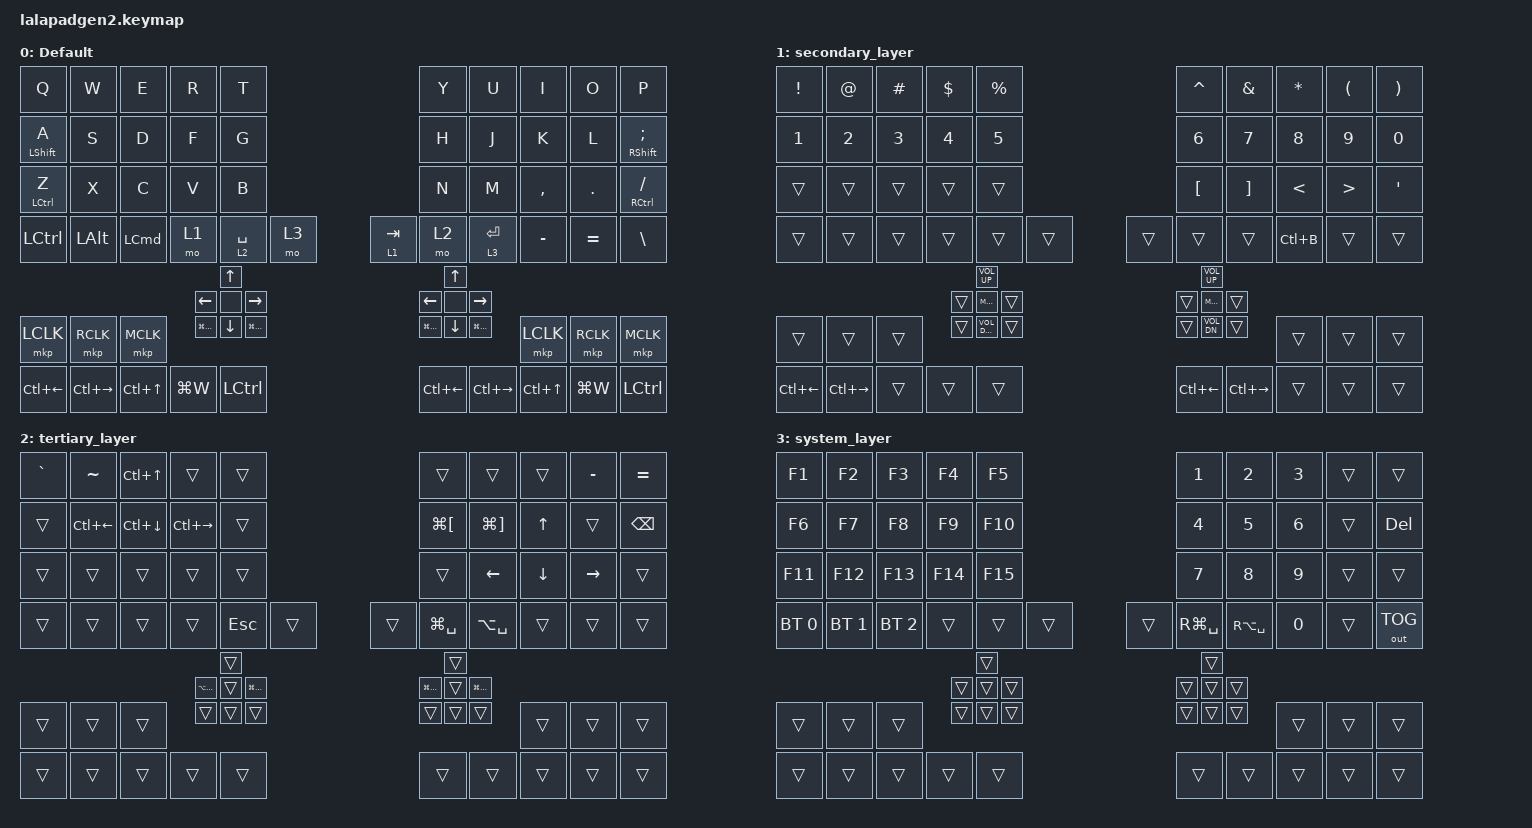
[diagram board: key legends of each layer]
#include <input/processors.dtsi>
#include <dt-bindings/zmk/zip_dynamic_scale.h>
#include <behaviors.dtsi>
#include <dt-bindings/zmk/bt.h>
#include <dt-bindings/zmk/keys.h>
#include <dt-bindings/zmk/outputs.h>
#include <dt-bindings/zmk/pointing.h>

#define DEFAULT_LAYER   0
#define SECONDARY_LAYER 1
#define TERTIARY_LAYER  2
#define SYSTEM_LAYER    3

&mt { quick-tap-ms = <200>; };

&lt { quick-tap-ms = <200>; };

/ {
    behaviors {
        zip_dyn_scale: zip_dyn_scale {
            compatible = "zmk,behavior-zip-dynamic-scale";
            #binding-cells = <2>;
        };

        zip_dyn_scale_set: zip_dyn_scale_set {
            compatible = "zmk,behavior-zip-dynamic-scale-set";
            #binding-cells = <2>;
        };

        mt2: mod_tap2 {
            compatible = "zmk,behavior-hold-tap";
            #binding-cells = <2>;
            flavor = "tap-preferred";
            tapping-term-ms = <200>;
            quick-tap-ms = <200>;
            require-prior-idle-ms = <125>;
            bindings = <&kp>, <&kp>;
        };

        tap_dance_layer_1and2: tap_dance_layer_1and2 {
            compatible = "zmk,behavior-tap-dance";
            label = "td_mo12";
            #binding-cells = <0>;
            bindings = <&mo 1>, <&mo 0>;
        };
    };

    combos {
        compatible = "zmk,combos";

        CONBO_ESC {
            bindings = <&kp ESCAPE>;
            key-positions = <0 1>;
        };

        COMBO_TAB {
            bindings = <&kp TAB>;
            key-positions = <10 11>;
        };

        COMBO_MINUS {
            bindings = <&kp MINUS>;
            key-positions = <7 8>;
        };

        COMBO_EQUAL {
            bindings = <&kp EQUAL>;
            key-positions = <8 9>;
        };

        /* L + ; → DELETE
         * timeout-ms を 100ms に設定：position 19 (;) が &mt2 (tapping-term 200ms) のため、
         * デフォルト 50ms ではコンボ判定がタイムアウトして発火しない */

        COMBO_BACKSPACE {
            bindings = <&kp BACKSPACE>;
            key-positions = <18 19>;
        };
    };

    keymap {
        compatible = "zmk,keymap";

        DEFAULT_LAYER {
            display-name = "Default";
            bindings = <
&kp Q                &kp W                &kp E             &kp R      &kp T                           &kp Y               &kp U                &kp I             &kp O       &kp P
&mt2 LEFT_SHIFT A    &kp S                &kp D             &kp F      &kp G                           &kp H               &kp J                &kp K             &kp L       &mt2 RIGHT_SHIFT SEMICOLON
&mt2 LEFT_CONTROL Z  &kp X                &kp C             &kp V      &kp B                           &kp N               &kp M                &kp COMMA         &kp PERIOD  &mt2 RIGHT_CONTROL SLASH
&kp LCTRL            &kp LEFT_ALT         &kp LEFT_COMMAND  &mo 1      &lt 2 SPACE  &mo 3   &lt 1 TAB  &mo 2               &lt 3 ENTER          &kp MINUS         &kp EQUAL   &kp BACKSLASH
                     &none                &kp RIGHT         &kp DOWN   &kp LEFT     &kp UP  &kp UP     &kp LEFT            &kp DOWN             &kp RIGHT         &none
&mkp LCLK            &mkp RCLK            &mkp MCLK                                                                                             &mkp LCLK         &mkp RCLK   &mkp MCLK
&kp LC(LEFT_ARROW)   &kp LC(RIGHT_ARROW)  &kp LC(UP_ARROW)  &kp LG(W)  &kp LCTRL                       &kp LC(LEFT_ARROW)  &kp LC(RIGHT_ARROW)  &kp LC(UP_ARROW)  &kp LG(W)   &kp LCTRL
&kp LG(LA(LEFT))     &kp LG(LA(RIGHT))    &kp LG(LA(LEFT))  &kp LG(LA(RIGHT))
            >;
        };

        SECONDARY_LAYER {
            display-name = "secondary_layer";
            bindings = <
&kp EXCLAMATION  &kp AT_SIGN    &kp HASH      &kp DOLLAR         &kp PERCENT                                    &kp CARET         &kp AMPERSAND      &kp ASTERISK   &kp LEFT_PARENTHESIS  &kp RIGHT_PARENTHESIS
&kp NUMBER_1     &kp NUMBER_2   &kp NUMBER_3  &kp NUMBER_4       &kp N5                                         &kp NUMBER_6      &kp NUMBER_7       &kp NUMBER_8   &kp NUMBER_9          &kp NUMBER_0
&trans           &trans         &trans        &trans             &trans                                         &kp LEFT_BRACKET  &kp RIGHT_BRACKET  &kp LESS_THAN  &kp GREATER_THAN      &kp SINGLE_QUOTE
&trans           &trans         &trans        &trans             &trans       &trans           &trans           &trans            &trans             &kp LC(B)      &trans                &trans
                 &kp K_MUTE     &trans        &kp C_VOLUME_DOWN  &trans       &kp C_VOLUME_UP  &kp C_VOLUME_UP  &trans            &kp C_VOL_DN       &trans         &kp K_MUTE
&trans           &trans         &trans                                                                                                               &trans         &trans                &trans
&kp LC(LEFT)     &kp LC(RIGHT)  &trans        &trans             &trans                                         &kp LC(LEFT)      &kp LC(RIGHT)      &trans         &trans                &trans
&trans           &trans         &trans        &trans
            >;
        };

        TERTIARY_LAYER {
            display-name = "tertiary_layer";
            bindings = <
&kp GRAVE  &kp TILDE           &kp LC(UP_ARROW)         &trans               &trans                                  &trans                  &trans                 &trans                   &kp MINUS        &kp EQUAL
&trans     &kp LC(LEFT_ARROW)  &kp LC(DOWN_ARROW)       &kp LC(RIGHT_ARROW)  &trans                                  &kp LG(LEFT_BRACKET)    &kp LG(RIGHT_BRACKET)  &kp UP_ARROW             &trans           &kp BACKSPACE
&trans     &trans              &trans                   &trans               &trans                                  &trans                  &kp LEFT_ARROW         &kp DOWN_ARROW           &kp RIGHT_ARROW  &trans
&trans     &trans              &trans                   &trans               &kp ESC                 &trans  &trans  &kp LG(SPACE)           &kp LA(SPACE)          &trans                   &trans           &trans
           &trans              &kp LG(LA(RIGHT_ARROW))  &trans               &kp LA(LG(LEFT_ARROW))  &trans  &trans  &kp LG(LA(LEFT_ARROW))  &trans                 &kp LG(LA(RIGHT_ARROW))  &trans
&trans     &trans              &trans                                                                                                                               &trans                   &trans           &trans
&trans     &trans              &trans                   &trans               &trans                                  &trans                  &trans                 &trans                   &trans           &trans
&trans     &trans              &trans                   &trans
            >;
        };

        SYSTEM_LAYER {
            display-name = "system_layer";
            bindings = <
&kp F1        &kp F2        &kp F3        &kp F4   &kp F5                   &kp NUMBER_1   &kp NUMBER_2   &kp NUMBER_3  &trans  &trans
&kp F6        &kp F7        &kp F8        &kp F9   &kp F10                  &kp NUMBER_4   &kp NUMBER_5   &kp NUMBER_6  &trans  &kp DELETE
&kp F11       &kp F12       &kp F13       &kp F14  &kp F15                  &kp NUMBER_7   &kp NUMBER_8   &kp NUMBER_9  &trans  &trans
&bt BT_SEL 0  &bt BT_SEL 1  &bt BT_SEL 2  &trans   &trans   &trans  &trans  &kp RG(SPACE)  &kp RA(SPACE)  &kp NUMBER_0  &trans  &out OUT_TOG
              &trans        &trans        &trans   &trans   &trans  &trans  &trans         &trans         &trans        &trans
&trans        &trans        &trans                                                                        &trans        &trans  &trans
&trans        &trans        &trans        &trans   &trans                   &trans         &trans         &trans        &trans  &trans
&trans        &trans        &trans        &trans
            >;
        };
    };
};
